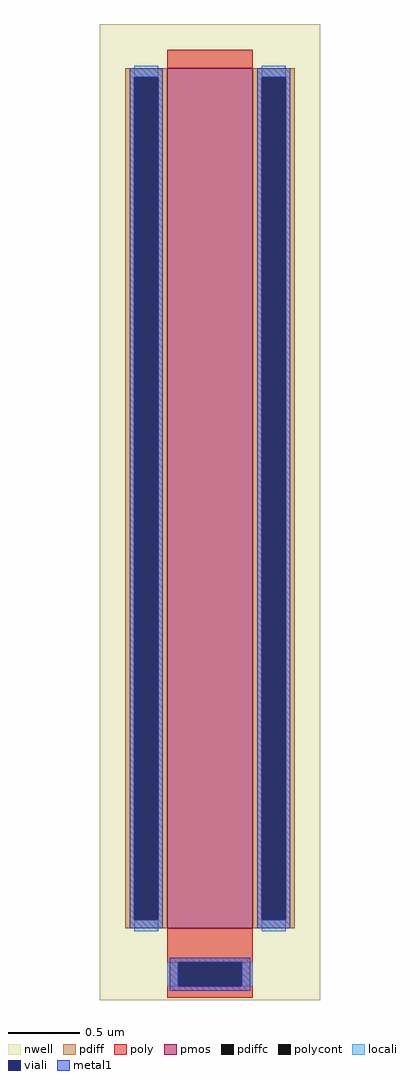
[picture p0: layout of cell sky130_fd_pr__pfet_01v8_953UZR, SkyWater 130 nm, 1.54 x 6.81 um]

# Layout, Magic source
magic
tech sky130A
magscale 1 2
<< nwell >>
rect -154 -664 154 698
<< pmos >>
rect -60 -564 60 636
<< pdiff >>
rect -118 624 -60 636
rect -118 -552 -106 624
rect -72 -552 -60 624
rect -118 -564 -60 -552
rect 60 624 118 636
rect 60 -552 72 624
rect 106 -552 118 624
rect 60 -564 118 -552
<< pdiffc >>
rect -106 -552 -72 624
rect 72 -552 106 624
<< poly >>
rect -60 636 60 662
rect -60 -611 60 -564
rect -60 -645 -44 -611
rect 44 -645 60 -611
rect -60 -661 60 -645
<< polycont >>
rect -44 -645 44 -611
<< locali >>
rect -106 624 -72 640
rect -106 -568 -72 -552
rect 72 624 106 640
rect 72 -568 106 -552
rect -60 -645 -44 -611
rect 44 -645 60 -611
<< viali >>
rect -106 -552 -72 624
rect 72 -552 106 624
rect -44 -645 44 -611
<< metal1 >>
rect -112 624 -66 636
rect -112 -552 -106 624
rect -72 -552 -66 624
rect -112 -564 -66 -552
rect 66 624 112 636
rect 66 -552 72 624
rect 106 -552 112 624
rect 66 -564 112 -552
rect -56 -611 56 -605
rect -56 -645 -44 -611
rect 44 -645 56 -611
rect -56 -651 56 -645
<< properties >>
string gencell sky130_fd_pr__pfet_01v8
string library sky130
string parameters w 6 l 0.6 m 1 nf 1 diffcov 100 polycov 100 guard 0 glc 0 grc 0 gtc 0 gbc 0 tbcov 100 rlcov 100 topc 0 botc 1 poverlap 0 doverlap 0 lmin 0.15 wmin 0.42 compatible {sky130_fd_pr__pfet_01v8  sky130_fd_pr__pfet_01v8_lvt sky130_fd_pr__pfet_01v8_hvt  sky130_fd_pr__pfet_g5v0d10v5} full_metal 0 viasrc 100 viadrn 100 viagate 100 viagb 0 viagr 0 viagl 0 viagt 0
<< end >>
